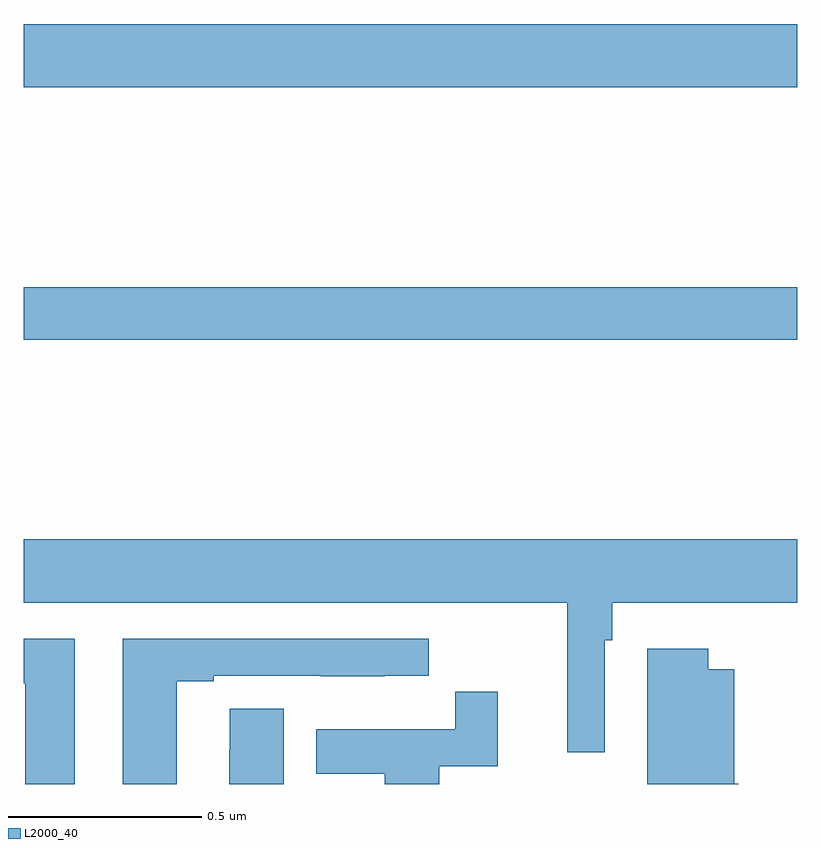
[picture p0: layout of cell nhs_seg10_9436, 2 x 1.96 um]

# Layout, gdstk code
import gdstk
lib = gdstk.Library(unit=1e-6, precision=1e-09)
def R(c, l, rs):  # rectangles x0, y0, x1, y1
    for r in rs: c.add(gdstk.rectangle(r[:2], r[2:], *l))
def P(c, l, *ps):  # polygons
    for p in ps: c.add(gdstk.Polygon(p, *l))
L2000_40 = (2000, 40)

nhs_seg10_9436 = lib.new_cell('nhs_seg10_9436')
R(nhs_seg10_9436, L2000_40, [(229,1315.648,231,1315.784), (229,1316.3,231,1316.464)])
P(nhs_seg10_9436, L2000_40, [(230.502,1314.872),(230.522,1314.872),(230.522,1314.968),(231,1314.968),(231,1315.132),(229,1315.132),(229,1314.968),(230.405,1314.968),(230.405,1314.582),(230.502,1314.582)],
  [(229.396,1314.765),(229.492,1314.765),(229.492,1314.78),(229.768,1314.78),(229.768,1314.779),(229.934,1314.779),(229.934,1314.78),(230.047,1314.78),(230.047,1314.876),(229.256,1314.876),(229.256,1314.5),(229.396,1314.5)],
  [(229.132,1314.876),(229,1314.876),(229,1314.76),(229.004,1314.76),(229.004,1314.5),(229.132,1314.5)],
  [(230.848,1314.501),(230.836,1314.501),(230.836,1314.796),(230.77,1314.796),(230.77,1314.85),(230.612,1314.85),(230.612,1314.5),(230.848,1314.5)],
  [(230.074,1314.546),(230.225,1314.546),(230.225,1314.739),(230.116,1314.739),(230.116,1314.642),(229.757,1314.642),(229.757,1314.526),(229.934,1314.526),(229.934,1314.5),(230.074,1314.5)],
  [(229.672,1314.695),(229.533,1314.695),(229.533,1314.587),(229.532,1314.587),(229.532,1314.5),(229.672,1314.5)])

lib.write_gds('nhs_seg10_9436.gds')
